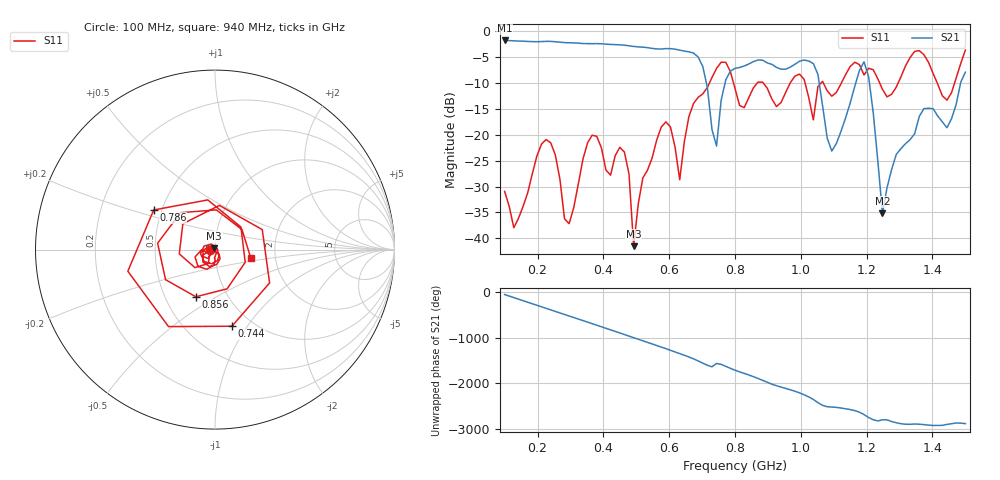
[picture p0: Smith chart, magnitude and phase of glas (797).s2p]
! NanoVNA-App
! Date: 2025-09-25 16:01:41
! Start: 100MHz Stop: 1,5GHz Points: 101
! S-Parameter data: F S11 S21 S12 S22
# Hz S RI R 50
!  Frequency  S11_Real  S11_Imag  S21_Real  S21_Imag  S12_Real  S12_Imag  S22_Real  S22_Imag
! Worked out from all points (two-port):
!   101 points, 100 MHz to 1.5 GHz, reference 50 ohm
!   highest |S21| = -1.80 dB at 100 MHz (marker M1); lowest = -35.1 dB at 1.248 GHz (marker M2)
!   |S21| within 3 dB of the highest: start of sweep to 684.5 MHz
!   lowest |S11| = -41.5 dB at 492 MHz (marker M3), VSWR 1.02, Z = 49.5 + j0.647 ohm
!   |S11| at or under -10 dB: start of sweep to 722.4 MHz; 795.4 MHz to 867.9 MHz (72.45 MHz wide, 8.71 % of centre); 885.8 MHz to 967.7 MHz (81.93 MHz wide, 8.84 % of centre) (the widest 3 of 7)
!   S12 and S22 are empty: the file has one direction only
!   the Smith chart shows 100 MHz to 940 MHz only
!   S11 on the Smith chart (normalised r, x): 100 MHz: 0.94, -0.01; 744 MHz: 0.81, -0.85; 786 MHz: 0.45, +0.24; 856 MHz: 0.71, -0.41; 940 MHz: 1.49, -0.15
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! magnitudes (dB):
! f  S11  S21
! 100 MHz  -30.9  -1.8
! 128 MHz  -37.9  -1.9
! 226 MHz  -20.9  -2.0
! 296 MHz  -37.2  -2.2
! 338 MHz  -24.7  -2.4
! 464 MHz  -23.3  -2.7
! 492 MHz  -41.5  -3.0
! 576 MHz  -18.5  -3.5
! 632 MHz  -28.7  -3.7
! 702 MHz  -12.1  -6.8
! 744 MHz  -7.2  -22.2
! 786 MHz  -7.8  -7.7
! 800 MHz  -11.1  -7.2
! 856 MHz  -10.9  -5.9
! 940 MHz  -13.8  -7.4
! 1.038 GHz  -17.1  -6.3
! 1.094 GHz  -12.6  -23.1
! 1.192 GHz  -8.5  -5.9
! 1.248 GHz  -11.2  -35.1
! 1.276 GHz  -12.2  -26.7
! 1.444 GHz  -13.3  -18.7
! 1.5 GHz  -3.7  -7.9
